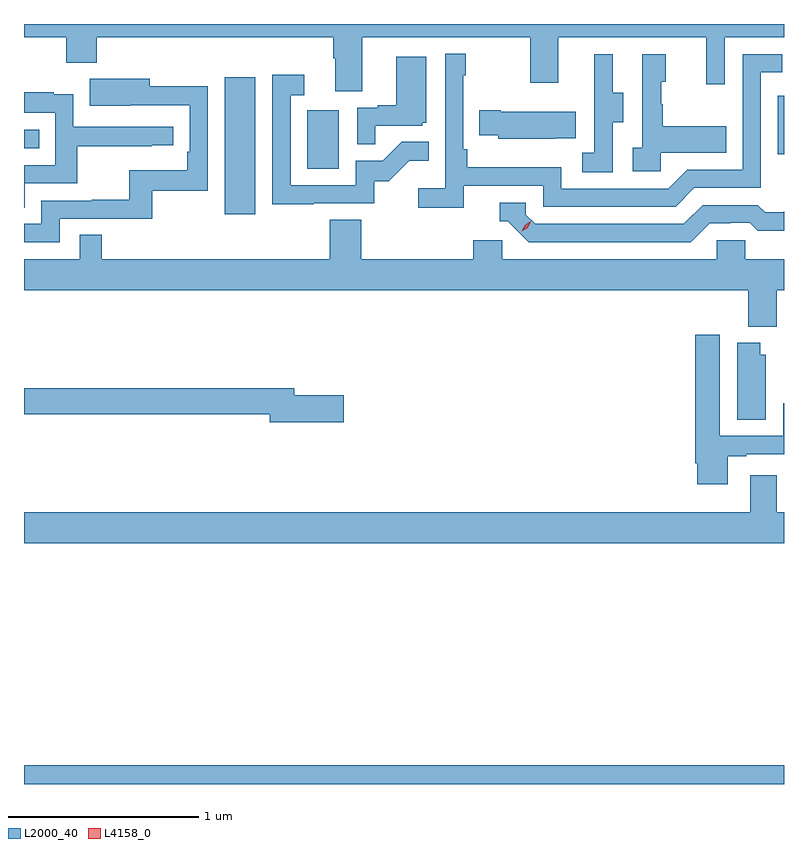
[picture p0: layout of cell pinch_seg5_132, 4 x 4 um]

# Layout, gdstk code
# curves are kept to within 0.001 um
import gdstk
lib = gdstk.Library(unit=1e-6, precision=1e-09)
def R(c, l, rs):  # rectangles x0, y0, x1, y1
    for r in rs: c.add(gdstk.rectangle(r[:2], r[2:], *l))
def P(c, l, *ps):  # polygons
    for p in ps: c.add(gdstk.Polygon(p, *l))
L2000_40 = (2000, 40)
L4158_0 = (4158, 0)

pinch_seg5_132 = lib.new_cell('pinch_seg5_132')
R(pinch_seg5_132, L2000_40, [(1064.704,890.125,1068.704,890.224), (1065.761,893.124,1065.922,893.845), (1066.196,893.364,1066.36,893.671), (1068.672,893.439,1068.704,893.748), (1064.704,893.472,1064.783,893.568)])
P(pinch_seg5_132, L2000_40, [(1066.483,894.056),(1067.368,894.056),(1067.368,893.817),(1067.515,893.817),(1067.515,894.056),(1068.296,894.056),(1068.296,893.808),(1068.393,893.808),(1068.393,894.056),(1068.704,894.056),(1068.704,894.125),(1064.704,894.125),(1064.704,894.056),(1064.926,894.056),(1064.926,893.921),(1065.086,893.921),(1065.086,894.056),(1066.331,894.056),(1066.331,893.944),(1066.343,893.944),(1066.343,893.77),(1066.483,893.77)],
  [(1067.018,893.274),(1067.436,893.274),(1067.436,893.163),(1068.133,893.163),(1068.232,893.262),(1068.582,893.262),(1068.582,893.871),(1068.695,893.871),(1068.695,893.967),(1068.486,893.967),(1068.486,893.358),(1068.195,893.358),(1068.096,893.259),(1067.532,893.259),(1067.532,893.371),(1067.036,893.371),(1067.036,893.467),(1067.016,893.467),(1067.016,893.855),(1067.029,893.855),(1067.029,893.968),(1066.92,893.968),(1066.92,893.26),(1066.779,893.26),(1066.779,893.158),(1067.018,893.158)],
  [(1067.802,893.608),(1067.857,893.608),(1067.857,893.763),(1067.803,893.763),(1067.803,893.965),(1067.705,893.965),(1067.705,893.751),(1067.706,893.751),(1067.706,893.447),(1067.643,893.447),(1067.643,893.344),(1067.802,893.344)],
  [(1068.054,893.447),(1068.401,893.447),(1068.401,893.587),(1068.067,893.587),(1068.067,893.702),(1068.057,893.702),(1068.057,893.82),(1068.082,893.82),(1068.082,893.965),(1067.958,893.965),(1067.958,893.474),(1067.907,893.474),(1067.907,893.349),(1068.054,893.349)],
  [(1066.553,893.589),(1066.8,893.589),(1066.8,893.604),(1066.822,893.604),(1066.822,893.953),(1066.664,893.953),(1066.664,893.698),(1066.565,893.698),(1066.565,893.685),(1066.458,893.685),(1066.458,893.491),(1066.553,893.491)],
  [(1066.229,893.181),(1066.548,893.181),(1066.548,893.298),(1066.624,893.298),(1066.731,893.405),(1066.835,893.405),(1066.835,893.504),(1066.691,893.504),(1066.593,893.406),(1066.449,893.406),(1066.449,893.277),(1066.107,893.277),(1066.107,893.751),(1066.18,893.751),(1066.18,893.857),(1066.011,893.857),(1066.011,893.176),(1066.229,893.176)],
  [(1064.892,893.1),(1065.379,893.1),(1065.379,893.247),(1065.672,893.247),(1065.672,893.798),(1065.367,893.798),(1065.367,893.836),(1065.049,893.836),(1065.049,893.696),(1065.263,893.696),(1065.263,893.697),(1065.576,893.697),(1065.576,893.452),(1065.563,893.452),(1065.563,893.356),(1065.258,893.356),(1065.258,893.201),(1065.061,893.201),(1065.061,893.196),(1064.796,893.196),(1064.796,893.073),(1064.704,893.073),(1064.704,892.977),(1064.892,892.977)],
  [(1064.707,893.286),(1064.984,893.286),(1064.984,893.482),(1065.377,893.482),(1065.377,893.487),(1065.49,893.487),(1065.49,893.583),(1064.964,893.583),(1064.964,893.755),(1064.861,893.755),(1064.861,893.767),(1064.704,893.767),(1064.704,893.658),(1064.868,893.658),(1064.868,893.382),(1064.704,893.382),(1064.704,893.158),(1064.707,893.158)],
  [(1067.501,893.525),(1067.609,893.525),(1067.609,893.662),(1067.212,893.662),(1067.212,893.67),(1067.101,893.67),(1067.101,893.54),(1067.199,893.54),(1067.199,893.522),(1067.501,893.522)],
  [(1068.313,893.076),(1068.42,893.076),(1068.42,893.079),(1068.523,893.079),(1068.565,893.037),(1068.704,893.037),(1068.704,893.136),(1068.703,893.133),(1068.604,893.133),(1068.565,893.172),(1068.276,893.172),(1068.177,893.073),(1067.394,893.073),(1067.346,893.121),(1067.346,893.184),(1067.207,893.184),(1067.207,893.088),(1067.25,893.088),(1067.361,892.977),(1068.214,892.977)],
  [(1068.667,892.724),(1068.704,892.724),(1068.704,892.888),(1068.501,892.888),(1068.501,892.986),(1068.351,892.986),(1068.351,892.888),(1067.22,892.888),(1067.22,892.986),(1067.069,892.986),(1067.069,892.888),(1066.478,892.888),(1066.478,893.096),(1066.313,893.096),(1066.313,892.888),(1065.113,892.888),(1065.113,893.015),(1064.997,893.015),(1064.997,892.888),(1064.704,892.888),(1064.704,892.724),(1068.515,892.724),(1068.515,892.532),(1068.667,892.532)],
  [(1068.409,891.849),(1068.505,891.849),(1068.505,891.861),(1068.704,891.861),(1068.704,892.129),(1068.701,892.129),(1068.701,891.957),(1068.367,891.957),(1068.367,892.489),(1068.236,892.489),(1068.236,891.814),(1068.248,891.814),(1068.248,891.702),(1068.409,891.702)],
  [(1068.607,892.383),(1068.58,892.383),(1068.58,892.447),(1068.458,892.447),(1068.458,892.042),(1068.607,892.042)],
  [(1066.387,892.172),(1066.126,892.172),(1066.126,892.208),(1064.704,892.208),(1064.704,892.072),(1065.998,892.072),(1065.998,892.03),(1066.387,892.03)],
  [(1068.704,891.556),(1068.667,891.556),(1068.667,891.751),(1068.527,891.751),(1068.527,891.556),(1064.704,891.556),(1064.704,891.392),(1068.704,891.392)])
P(pinch_seg5_132, L4158_0, [(1067.325,893.033),(1067.325,893.033),(1067.34,893.066),(1067.37,893.086),(1067.371,893.086),(1067.371,893.086),(1067.355,893.053),(1067.325,893.033)])

lib.write_gds('pinch_seg5_132.gds')
